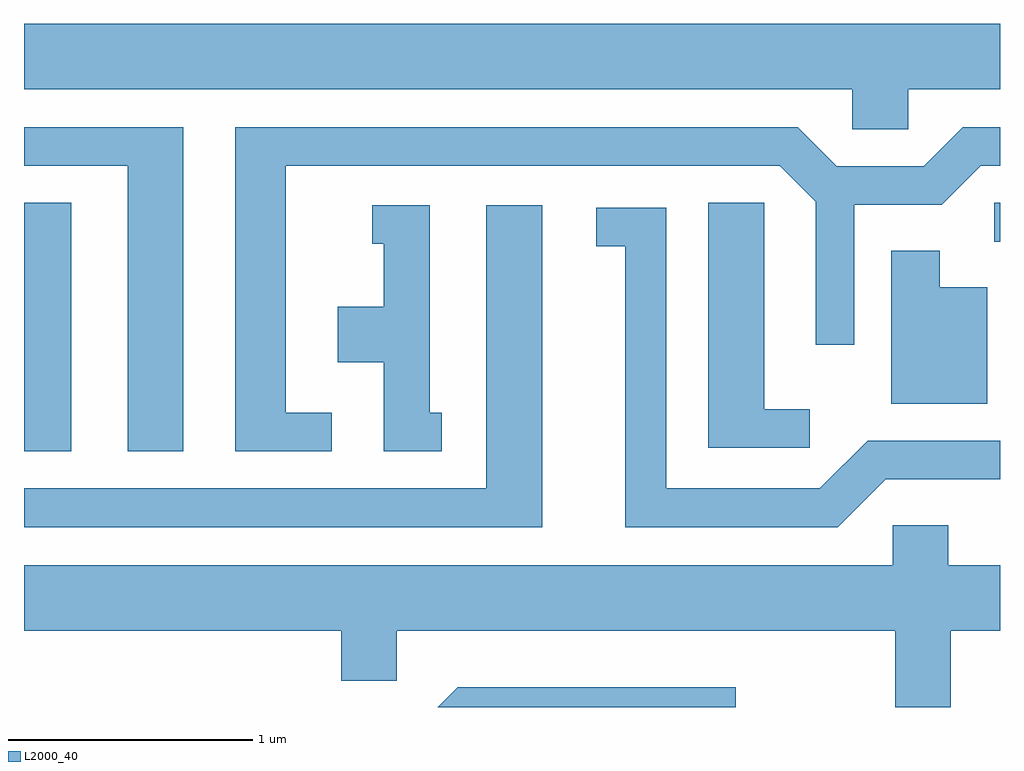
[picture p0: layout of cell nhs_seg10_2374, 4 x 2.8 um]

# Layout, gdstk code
import gdstk
lib = gdstk.Library(unit=1e-6, precision=1e-09)
def R(c, l, rs):  # rectangles x0, y0, x1, y1
    for r in rs: c.add(gdstk.rectangle(r[:2], r[2:], *l))
def P(c, l, *ps):  # polygons
    for p in ps: c.add(gdstk.Polygon(p, *l))
L2000_40 = (2000, 40)

nhs_seg10_2374 = lib.new_cell('nhs_seg10_2374')
R(nhs_seg10_2374, L2000_40, [(255.611,2083.571,255.804,2084.589), (259.587,2084.431,259.611,2084.589)])
P(nhs_seg10_2374, L2000_40, [(259.234,2085.056),(259.611,2085.056),(259.611,2085.324),(255.611,2085.324),(255.611,2085.056),(259.006,2085.056),(259.006,2084.891),(259.234,2084.891)],
  [(256.873,2083.729),(256.684,2083.729),(256.684,2084.741),(258.709,2084.741),(258.856,2084.594),(258.856,2084.008),(259.014,2084.008),(259.014,2084.581),(259.372,2084.581),(259.532,2084.741),(259.611,2084.741),(259.611,2084.899),(259.459,2084.899),(259.299,2084.739),(258.942,2084.739),(258.782,2084.899),(256.476,2084.899),(256.476,2083.571),(256.873,2083.571)],
  [(256.264,2084.899),(255.611,2084.899),(255.611,2084.741),(256.036,2084.741),(256.036,2083.571),(256.264,2083.571)],
  [(258.832,2083.744),(258.644,2083.744),(258.644,2084.589),(258.416,2084.589),(258.416,2083.586),(258.832,2083.586)],
  [(257.734,2084.579),(257.506,2084.579),(257.506,2083.419),(255.611,2083.419),(255.611,2083.261),(257.734,2083.261)],
  [(257.323,2083.729),(257.274,2083.729),(257.274,2084.579),(257.038,2084.579),(257.038,2084.421),(257.086,2084.421),(257.086,2084.164),(256.896,2084.164),(256.896,2083.936),(257.086,2083.936),(257.086,2083.571),(257.323,2083.571)],
  [(259.142,2083.456),(259.611,2083.456),(259.611,2083.614),(259.069,2083.614),(258.873,2083.419),(258.244,2083.419),(258.244,2084.569),(257.957,2084.569),(257.957,2084.411),(258.076,2084.411),(258.076,2083.261),(258.947,2083.261)],
  [(259.559,2084.244),(259.364,2084.244),(259.364,2084.394),(259.166,2084.394),(259.166,2083.766),(259.559,2083.766)],
  [(259.409,2082.836),(259.611,2082.836),(259.611,2083.104),(259.399,2083.104),(259.399,2083.269),(259.171,2083.269),(259.171,2083.104),(255.611,2083.104),(255.611,2082.836),(256.911,2082.836),(256.911,2082.631),(257.139,2082.631),(257.139,2082.836),(259.181,2082.836),(259.181,2082.522),(259.409,2082.522)],
  [(258.528,2082.604),(257.389,2082.604),(257.307,2082.522),(258.528,2082.522)])

lib.write_gds('nhs_seg10_2374.gds')
